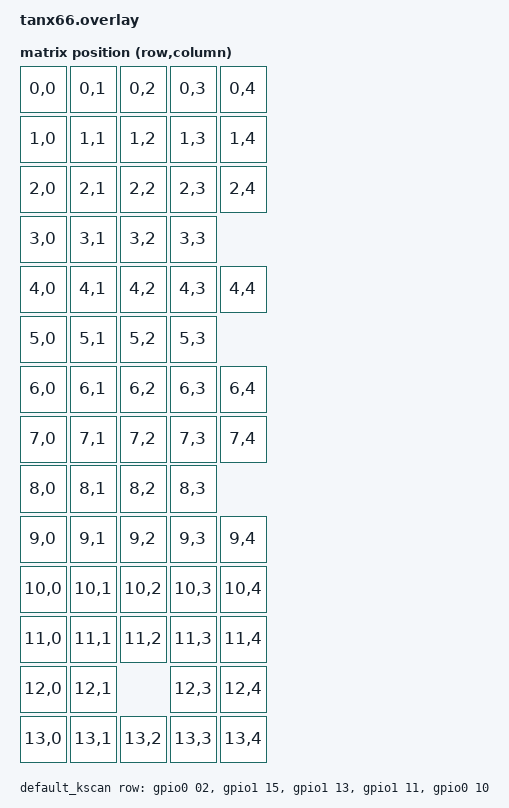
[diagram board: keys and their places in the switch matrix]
#include <dt-bindings/zmk/matrix_transform.h>

/ {
    chosen {
        zmk,kscan = &default_kscan;
        zmk,matrix_transform = &default_transform;
    };

&spi1 {
    status = "okay";
    cs-gpios = <&gpio0 24 GPIO_ACTIVE_LOW>;
    shifter: 595@0 {
        compatible = "zmk,gpio-595";
        status = "okay";
        gpio-controller;
        spi-max-frequency = <4000000>;
        reg = <0>;
        #gpio-cells = <2>;
        ngpios = <16>;
    };
};

    default_kscan: kscan {
        compatible = "zmk,kscan-gpio-matrix";
        label = "default_kscan";
        diode-direction = "col2row";

        row-gpios = <&gpio0 02 (GPIO_ACTIVE_HIGH | GPIO_PULL_DOWN)>,
                    <&gpio1 15 (GPIO_ACTIVE_HIGH | GPIO_PULL_DOWN)>,
                    <&gpio1 13 (GPIO_ACTIVE_HIGH | GPIO_PULL_DOWN)>,
                    <&gpio1 11 (GPIO_ACTIVE_HIGH | GPIO_PULL_DOWN)>,
                    <&gpio0 10 (GPIO_ACTIVE_HIGH | GPIO_PULL_DOWN)>;

        col-gpios = <&shifter 0 GPIO_ACTIVE_HIGH>,
                    <&shifter 1 GPIO_ACTIVE_HIGH>,
                    <&shifter 2 GPIO_ACTIVE_HIGH>,
                    <&shifter 3 GPIO_ACTIVE_HIGH>,
                    <&shifter 4 GPIO_ACTIVE_HIGH>,
                    <&shifter 5 GPIO_ACTIVE_HIGH>,
                    <&shifter 6 GPIO_ACTIVE_HIGH>,
                    <&shifter 7 GPIO_ACTIVE_HIGH>,
                    <&shifter 8 GPIO_ACTIVE_HIGH>,
                    <&shifter 9 GPIO_ACTIVE_HIGH>,
                    <&shifter 10 GPIO_ACTIVE_HIGH>,
                    <&shifter 11 GPIO_ACTIVE_HIGH>,
                    <&shifter 12 GPIO_ACTIVE_HIGH>,
                    <&shifter 13 GPIO_ACTIVE_HIGH>,
    };

    default_transform: matrix_transform {
        compatible = "zmk,matrix-transform";
        rows = <5>;
        columns = <14>;

        map = <
            RC(0,0)  RC(0,1)  RC(0,2)  RC(0,3)  RC(0,4)
            RC(1,0)  RC(1,1)  RC(1,2)  RC(1,3)  RC(1,4)
            RC(2,0)  RC(2,1)  RC(2,2)  RC(2,3)  RC(2,4)
            RC(3,0)  RC(3,1)  RC(3,2)  RC(3,3)  
            RC(4,0)  RC(4,1)  RC(4,2)  RC(4,3)  RC(4,4)
            RC(5,0)  RC(5,1)  RC(5,2)  RC(5,3)     
            RC(6,0)  RC(6,1)  RC(6,2)  RC(6,3)  RC(6,4)
            RC(7,0)  RC(7,1)  RC(7,2)  RC(7,3)  RC(7,4)
            RC(8,0)  RC(8,1)  RC(8,2)  RC(8,3)  
            RC(9,0)  RC(9,1)  RC(9,2)  RC(9,3)  RC(9,4)
            RC(10,0) RC(10,1) RC(10,2) RC(10,3) RC(10,4)
            RC(11,0) RC(11,1) RC(11,2) RC(11,3) RC(11,4)
            RC(12,0) RC(12,1)          RC(12,3) RC(12,4)
            RC(13,0) RC(13,1) RC(13,2) RC(13,3) RC(13,4)
 
        >;
    };
};
